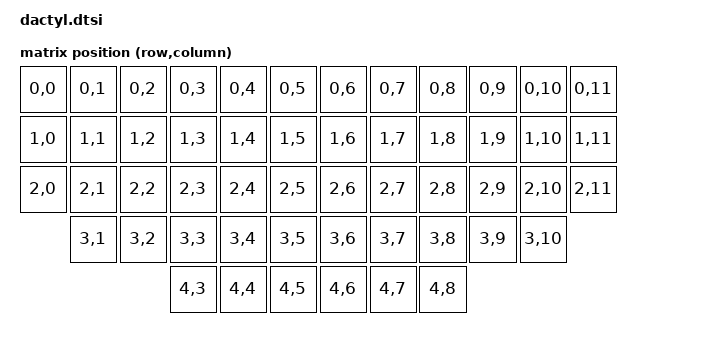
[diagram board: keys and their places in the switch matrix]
#include <dt-bindings/zmk/matrix_transform.h>

/ {
    default_transform: keymap_transform_0 {
        compatible = "zmk,matrix-transform";
        columns = <12>;
        rows    = <5>;

        map = <
        /*     C0     C1     C2     C3     C4     C5     C6       C7     C8     C9    C10    C11 */
        /* R0 */ RC(0,0) RC(0,1) RC(0,2) RC(0,3) RC(0,4) RC(0,5)  RC(0,6) RC(0,7) RC(0,8) RC(0,9) RC(0,10) RC(0,11)
        /* R1 */ RC(1,0) RC(1,1) RC(1,2) RC(1,3) RC(1,4) RC(1,5)  RC(1,6) RC(1,7) RC(1,8) RC(1,9) RC(1,10) RC(1,11)
        /* R2 */ RC(2,0) RC(2,1) RC(2,2) RC(2,3) RC(2,4) RC(2,5)  RC(2,6) RC(2,7) RC(2,8) RC(2,9) RC(2,10) RC(2,11)
        /* R3 */         RC(3,1) RC(3,2) RC(3,3) RC(3,4) RC(3,5)  RC(3,6) RC(3,7) RC(3,8) RC(3,9) RC(3,10)         
        /* R4 */                         RC(4,3) RC(4,4) RC(4,5)  RC(4,6) RC(4,7) RC(4,8)                          
        >;
    };

    physical_layout_0: physical_layout {
        compatible = "zmk,physical-layout";
        display-name = "Dactyl";
        kscan = <&kscan0>;
        transform = <&default_transform>;
    };
};

